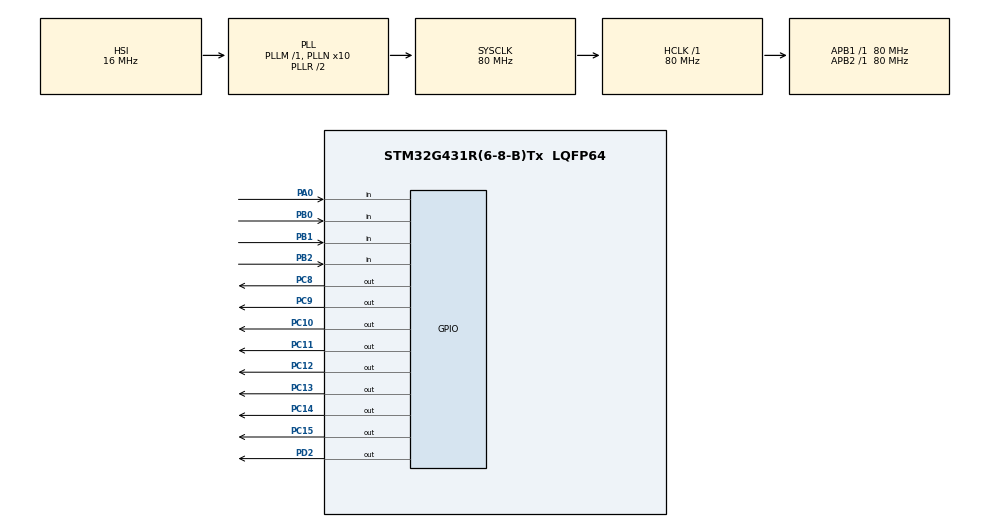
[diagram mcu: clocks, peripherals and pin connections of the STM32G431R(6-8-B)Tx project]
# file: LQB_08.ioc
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Mcu.Family=STM32G4
Mcu.Name=STM32G431R(6-8-B)Tx
Mcu.Package=LQFP64
NVIC.PriorityGroup=NVIC_PRIORITYGROUP_4
NVIC.TIM1_TRG_COM_TIM17_IRQn=true\:3\:0\:true\:false\:true\:true\:true
NVIC.TIM3_IRQn=true\:3\:0\:true\:false\:true\:true\:true
PA0.Signal=GPIO_Input
PA6.Signal=S_TIM3_CH1
PA7.Signal=S_TIM17_CH1
PB0.Signal=GPIO_Input
PB1.Signal=GPIO_Input
PB2.Signal=GPIO_Input
PC10.PinState=GPIO_PIN_SET
PC10.Signal=GPIO_Output
PC11.PinState=GPIO_PIN_SET
PC11.Signal=GPIO_Output
PC12.PinState=GPIO_PIN_SET
PC12.Signal=GPIO_Output
PC13.PinState=GPIO_PIN_SET
PC13.Signal=GPIO_Output
PC14-OSC32_IN.PinState=GPIO_PIN_SET
PC14-OSC32_IN.Signal=GPIO_Output
PC15-OSC32_OUT.PinState=GPIO_PIN_SET
PC15-OSC32_OUT.Signal=GPIO_Output
PC8.PinState=GPIO_PIN_SET
PC8.Signal=GPIO_Output
PC9.PinState=GPIO_PIN_SET
PC9.Signal=GPIO_Output
PD2.PinState=GPIO_PIN_RESET
PD2.Signal=GPIO_Output
PF0-OSC_IN.Mode=HSE-External-Oscillator
PF0-OSC_IN.Signal=RCC_OSC_IN
PF1-OSC_OUT.Mode=HSE-External-Oscillator
PF1-OSC_OUT.Signal=RCC_OSC_OUT
ProjectManager.HeapSize=0x200
ProjectManager.StackSize=0x400
ProjectManager.TargetToolchain=MDK-ARM V5.32
RCC.ADC12Freq_Value=80000000
RCC.AHBFreq_Value=80000000
RCC.APB1Freq_Value=80000000
RCC.APB1TimFreq_Value=80000000
RCC.APB2Freq_Value=80000000
RCC.APB2TimFreq_Value=80000000
RCC.CortexFreq_Value=80000000
RCC.EXTERNAL_CLOCK_VALUE=12288000
RCC.HCLKFreq_Value=80000000
RCC.HSE_VALUE=24000000
RCC.HSI48_VALUE=48000000
RCC.HSI_VALUE=16000000
RCC.LSE_VALUE=32768
RCC.PLLN=10
RCC.RTCClockSelection=RCC_RTCCLKSOURCE_HSE_DIV32
RCC.SYSCLKFreq_VALUE=80000000
RCC.SYSCLKSource=RCC_SYSCLKSOURCE_PLLCLK
RCC.USBFreq_Value=80000000
RCC.VCOOutputFreq_Value=160000000
RTC.AsynchPrediv=125
RTC.Hours=15
RTC.Minutes=10
RTC.Month=RTC_MONTH_SEPTEMBER
RTC.Seconds=5
RTC.SynchPrediv=6000
RTC.WeekDay=RTC_WEEKDAY_WEDNESDAY
RTC.Year=21
SH.S_TIM17_CH1.0=TIM17_CH1
SH.S_TIM3_CH1.0=TIM3_CH1
TIM17.AutoReloadPreload=TIM_AUTORELOAD_PRELOAD_ENABLE
TIM17.Channel=TIM_CHANNEL_1
TIM17.PeriodNoDither=500
TIM17.Prescaler=79
TIM17.PulseNoDither_1=299
TIM3.AutoReloadPreload=TIM_AUTORELOAD_PRELOAD_ENABLE
TIM3.Channel-PWM\ Generation1\ No\ Output=TIM_CHANNEL_1
TIM3.PeriodNoDither=999
TIM3.Prescaler=79
TIM3.PulseNoDither_1=300
VP_RTC_VS_RTC_Activate.Mode=RTC_Enabled
VP_RTC_VS_RTC_Calendar.Mode=RTC_Calendar
VP_SYS_VS_DBSignals.Mode=DisableDeadBatterySignals
VP_TIM17_VS_ClockSourceINT.Mode=Enable_Timer
VP_TIM17_VS_no_output1.Mode=PWM Generation1 No Output
VP_TIM3_VS_ClockSourceINT.Mode=Internal
VP_TIM3_VS_no_output1.Mode=PWM Generation1 No Output
board=custom

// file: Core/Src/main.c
/* USER CODE BEGIN Header */
/**
  ******************************************************************************
  * @file           : main.c
  * @brief          : Main program body
  ******************************************************************************
  * @attention
  *
  * Copyright (c) 2022 STMicroelectronics.
  * All rights reserved.
  *
  * This software is licensed under terms that can be found in the LICENSE file
  * in the root directory of this software component.
  * If no LICENSE file comes with this software, it is provided AS-IS.
  *
  ******************************************************************************
  */
/* USER CODE END Header */
#include "main.h"
#include "rtc.h"
#include "tim.h"
#include "gpio.h"

/* USER CODE BEGIN Includes */
#include "lcd.h"
#include "stdio.h"
#include "string.h"
/* USER CODE END Includes */

/* USER CODE BEGIN PV */
__IO uint32_t uwTick_Lcd_Set_Point;
__IO uint32_t uwTick_Key_Set_Point;
__IO uint32_t uwTick_Set_Point;

unsigned char Lcd_Disp_String[21];
uint8_t Platform = 1;
uint8_t Key_Val, Key_Down, Key_Old;
uint8_t Led = 1;
uint8_t Dir;
RTC_TimeTypeDef H_M_S_Time;
RTC_DateTypeDef Y_M_D_Date;
uint8_t State, Set;
/* USER CODE END PV */

void SystemClock_Config(void);
/* USER CODE BEGIN PFP */
void Lcd_Proc(void);
void Key_Proc(void);
void ELEV_Proc(void);
/* USER CODE END PFP */

int main(void)
{

  /* MCU Configuration--------------------------------------------------------*/

  /* Reset of all peripherals, Initializes the Flash interface and the Systick. */
  HAL_Init();

  /* Configure the system clock */
  SystemClock_Config();

  /* Initialize all configured peripherals */
  MX_GPIO_Init();
  MX_TIM3_Init();
  MX_TIM17_Init();
  MX_RTC_Init();
  /* USER CODE BEGIN 2 */
	LCD_Init();
	LCD_Clear(White);
	LCD_SetBackColor(White);
	LCD_SetTextColor(Black);

  /* USER CODE END 2 */

  /* Infinite loop */
  while (1)
  {

    /* USER CODE BEGIN 3 */
		Key_Proc();
		Lcd_Proc();
		ELEV_Proc();
  }
  /* USER CODE END 3 */
}

void SystemClock_Config(void)
{
  RCC_OscInitTypeDef RCC_OscInitStruct = {0};
  RCC_ClkInitTypeDef RCC_ClkInitStruct = {0};

  /** Configure the main internal regulator output voltage
  */
  HAL_PWREx_ControlVoltageScaling(PWR_REGULATOR_VOLTAGE_SCALE1);
  /** Initializes the RCC Oscillators according to the specified parameters
  * in the RCC_OscInitTypeDef structure.
  */
  RCC_OscInitStruct.OscillatorType = RCC_OSCILLATORTYPE_HSI|RCC_OSCILLATORTYPE_HSE;
  RCC_OscInitStruct.HSEState = RCC_HSE_ON;
  RCC_OscInitStruct.HSIState = RCC_HSI_ON;
  RCC_OscInitStruct.HSICalibrationValue = RCC_HSICALIBRATION_DEFAULT;
  RCC_OscInitStruct.PLL.PLLState = RCC_PLL_ON;
  RCC_OscInitStruct.PLL.PLLSource = RCC_PLLSOURCE_HSI;
  RCC_OscInitStruct.PLL.PLLM = RCC_PLLM_DIV1;
  RCC_OscInitStruct.PLL.PLLN = 10;
  RCC_OscInitStruct.PLL.PLLP = RCC_PLLP_DIV2;
  RCC_OscInitStruct.PLL.PLLQ = RCC_PLLQ_DIV2;
  RCC_OscInitStruct.PLL.PLLR = RCC_PLLR_DIV2;
  if (HAL_RCC_OscConfig(&RCC_OscInitStruct) != HAL_OK)
  {
    Error_Handler();
  }
  /** Initializes the CPU, AHB and APB buses clocks
  */
  RCC_ClkInitStruct.ClockType = RCC_CLOCKTYPE_HCLK|RCC_CLOCKTYPE_SYSCLK
                              |RCC_CLOCKTYPE_PCLK1|RCC_CLOCKTYPE_PCLK2;
  RCC_ClkInitStruct.SYSCLKSource = RCC_SYSCLKSOURCE_PLLCLK;
  RCC_ClkInitStruct.AHBCLKDivider = RCC_SYSCLK_DIV1;
  RCC_ClkInitStruct.APB1CLKDivider = RCC_HCLK_DIV1;
  RCC_ClkInitStruct.APB2CLKDivider = RCC_HCLK_DIV1;

  if (HAL_RCC_ClockConfig(&RCC_ClkInitStruct, FLASH_LATENCY_2) != HAL_OK)
  {
    Error_Handler();
  }
}

/* USER CODE BEGIN 4 */
void Lcd_Proc(void)
{
	if((uwTick - uwTick_Lcd_Set_Point) <= 100)
		return;

	uwTick_Lcd_Set_Point = uwTick;

	sprintf((char*)Lcd_Disp_String, "  Current Platform  ");
	LCD_DisplayStringLine(Line2, Lcd_Disp_String);

	sprintf((char*)Lcd_Disp_String, "          %1u           ", Platform);
	LCD_DisplayStringLine(Line4, Lcd_Disp_String);

	HAL_RTC_GetTime(&hrtc, &H_M_S_Time, RTC_FORMAT_BIN);
	HAL_RTC_GetDate(&hrtc, &Y_M_D_Date, RTC_FORMAT_BIN);
	sprintf((char*)Lcd_Disp_String, "      %02u-%02u-%02u     ", H_M_S_Time.Hours, H_M_S_Time.Minutes, H_M_S_Time.Seconds);
	LCD_DisplayStringLine(Line6, Lcd_Disp_String);
}

void Key_Proc(void)
{
	if((uwTick - uwTick_Key_Set_Point) <= 50)
		return;

	uwTick_Key_Set_Point = uwTick;

	Key_Val = Key_Scan();
	Key_Down = Key_Val & (Key_Val ^ Key_Old);
	Key_Old = Key_Val;

	if(!State)
	{
		switch(Key_Down)
		{
			case 1:
				if (Platform != 1)
					Set |= 1;
			break;

			case 2:
				if (Platform != 2)
					Set |= 2;
			break;

			case 3:
				if (Platform != 3)
					Set |= 4;
			break;

			case 4:
				if (Platform != 4)
					Set |= 8;
			break;
		}
	}

	if(Key_Val)
		uwTick_Set_Point = uwTick;

	Led_Disp(Set);
}

void ELEV_Proc(void)
{
	if(Set)
	{
		switch(State)
		{
			case 0:
				if((uwTick - uwTick_Set_Point) >= 1000)
				{
					State = 1;
				}
				else
					break;

			case 1:
				HAL_GPIO_WritePin(GPIOA, GPIO_PIN_5, GPIO_PIN_RESET);
				__HAL_TIM_SET_COMPARE(&htim17, TIM_CHANNEL_1, 250);
				HAL_TIM_PWM_Start(&htim17, TIM_CHANNEL_1);

				LCD_DisplayStringLine(Line8, (u8*)"Door Closing        ");

				uwTick_Set_Point = uwTick;
				State = 2;

			case 2:
				if((uwTick - uwTick_Set_Point) >= 4000)
				{
					HAL_TIM_PWM_Stop(&htim17, TIM_CHANNEL_1);

					LCD_DisplayStringLine(Line8, (u8*)"Door Closed        ");

					State = 3;
				}
				else
					break;

			case 3:
				if(Set > (1 << (Platform - 1)))
				{
					Dir = 1;

					HAL_GPIO_WritePin(GPIOA, GPIO_PIN_4, GPIO_PIN_SET);
					__HAL_TIM_SET_COMPARE(&htim3, TIM_CHANNEL_1, 800);
					HAL_TIM_PWM_Start(&htim3, TIM_CHANNEL_1);

					LCD_DisplayStringLine(Line8, (u8*)" ELevator Up...     ");
				}
				else if(Set < (1 << (Platform - 1)))
				{
					Dir = 2;

					HAL_GPIO_WritePin(GPIOA, GPIO_PIN_4, GPIO_PIN_RESET);
					__HAL_TIM_SET_COMPARE(&htim3, TIM_CHANNEL_1, 600);
					HAL_TIM_PWM_Start(&htim3, TIM_CHANNEL_1);

					LCD_DisplayStringLine(Line8, (u8*)" ELevator Down...   ");
				}
				uwTick_Set_Point = uwTick;
				State = 4;

			case 4:
				if((uwTick - uwTick_Set_Point) >= 6000)
				{
					if(Dir == 1)
						Platform++;
					else if(Dir == 2)
						Platform--;

					LCD_DisplayChar(Line4, 160, Platform + 0x30);

					State = 5;
				}
				else
				{
					if(Dir == 1)
					{
						Led <<= 1;
						if(Led == 0x10)
							Led = 1;
					}
					if(Dir == 2)
					{
						Led >>= 1;
						if(Led == 0)
							Led = 8;
					}
					Led_Disp((Led << 4) + Set);
					HAL_Delay(250);
					break;
				}

			case 5:
				if(Set & (1 << (Platform - 1)))
				{
					HAL_TIM_PWM_Stop(&htim3, TIM_CHANNEL_1);

					LCD_DisplayChar(Line4, 160, Platform + 0x30);
					HAL_Delay(250);
					LCD_DisplayChar(Line4, 160, ' ');
					HAL_Delay(250);
					LCD_DisplayChar(Line4, 160, Platform + 0x30);
					HAL_Delay(250);
					LCD_DisplayChar(Line4, 160, ' ');
					HAL_Delay(250);

					LCD_DisplayStringLine(Line8, (u8*)"    Door Open...    ");

					HAL_GPIO_WritePin(GPIOA, GPIO_PIN_5, GPIO_PIN_SET);
					__HAL_TIM_SET_COMPARE(&htim17, TIM_CHANNEL_1, 300);
					HAL_TIM_PWM_Start(&htim17, TIM_CHANNEL_1);

					uwTick_Set_Point = uwTick;
					State = 6;
				}
				else
				{
					uwTick_Set_Point = uwTick;
					State = 4;
					break;
				}

			case 6:
				if((uwTick - uwTick_Set_Point) >= 4000)
				{
					HAL_TIM_PWM_Stop(&htim17, TIM_CHANNEL_1);

					LCD_DisplayStringLine(Line8, (u8*)"  Door Opened       ");

					Set &= (~(1 << (Platform - 1)));
					Led_Disp(Set);

					State = 7;
				}
				else
					break;

			case 7:
				if(Set)
				{
					uwTick_Set_Point = uwTick;

					State = 8;
				}
				else
				{
					State = 0;

					LCD_DisplayStringLine(Line8, (u8*)"                    ");

					break;
				}

			case 8:
				if((uwTick - uwTick_Set_Point) >= 2000)
				{
					LCD_DisplayStringLine(Line8, (u8*)"                    ");

					State = 1;
				}
				else
					break;
		}
	}
}
/* USER CODE END 4 */

void Error_Handler(void)
{
  __disable_irq();
  while (1)
  {
  }
}
